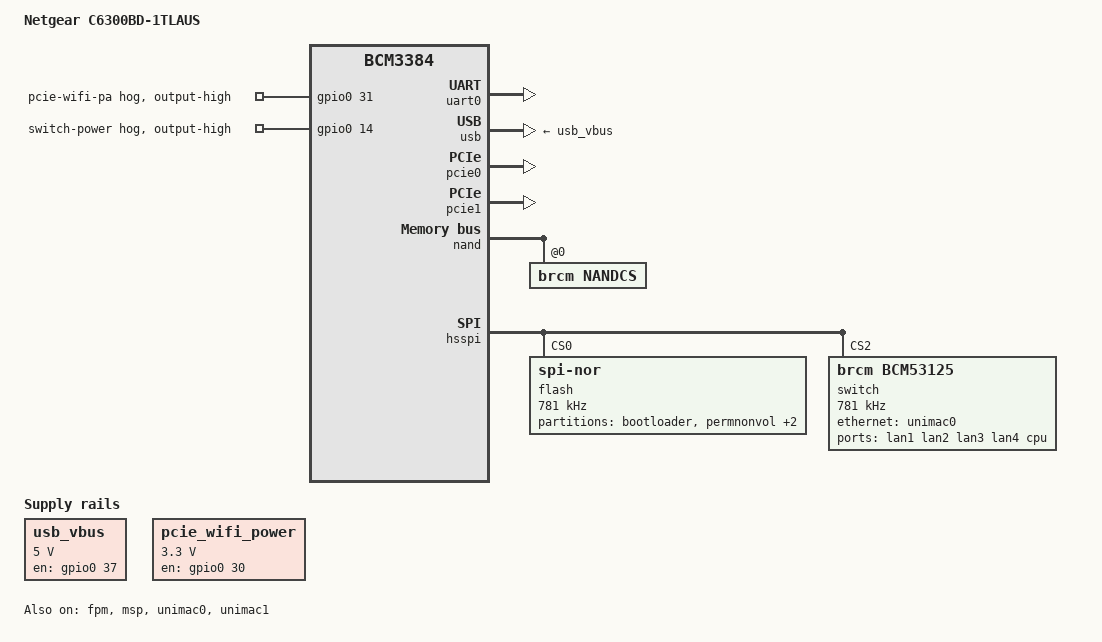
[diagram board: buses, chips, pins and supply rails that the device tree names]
// SPDX-License-Identifier: GPL-2.0-or-later

/dts-v1/;

#include <dt-bindings/gpio/gpio.h>
#include "bcm3384.dtsi"

/ {
	model = "Netgear C6300BD-1TLAUS";
	compatible = "netgear,c6300bd-1tlaus", "brcm,bcm3384";

	usb_vbus: regulator-usb-vbus {
		compatible = "regulator-fixed";
		regulator-name = "usb-vbus";
		regulator-min-microvolt = <5000000>;
		regulator-max-microvolt = <5000000>;
		gpio = <&gpio0 37 GPIO_ACTIVE_HIGH>;
		enable-active-high;
		pinctrl-names = "default";
		pinctrl-0 = <&pinctrl_usb_vbus>;
	};

	pcie_wifi_power: regulator-pcie-wifi-power {
		compatible = "regulator-fixed";
		regulator-name = "pcie-wifi-power";
		regulator-min-microvolt = <3300000>;
		regulator-max-microvolt = <3300000>;
		gpio = <&gpio0 30 GPIO_ACTIVE_HIGH>;
		enable-active-high;
	};
};

&uart0 {
	status = "okay";
};

&usb {
	vbus-supply = <&usb_vbus>;
	status = "okay";
};

&pcie0 {
	vpcie-supply = <&pcie_wifi_power>;
	status = "okay";
};

&pcie1 {
	vpcie-supply = <&pcie_wifi_power>;
	status = "okay";
};

&nand {
	status = "okay";

	nandcs@0 {
		compatible = "brcm,nandcs";
		reg = <0>;
		brcm,nand-ecc-use-strap;
	};
};

&gpio0 {
	pcie_wifi_pa: pcie-wifi-pa-hog {
		gpio-hog;
		gpios = <31 GPIO_ACTIVE_HIGH>;
		output-high;
		line-name = "pcie-wifi-pa";
	};

	switch_power: switch-power-hog {
		gpio-hog;
		gpios = <14 GPIO_ACTIVE_HIGH>;
		output-high;
		line-name = "switch-power";
	};
};

&hsspi {
	pinctrl-names = "default";
	pinctrl-0 = <&pinctrl_hsspi_switch>;
	status = "okay";

	flash@0 {
		compatible = "jedec,spi-nor";
		reg = <0>;
		spi-cpha;
		spi-cpol;
		spi-max-frequency = <781000>;

		partitions {
			compatible = "fixed-partitions";
			#address-cells = <1>;
			#size-cells = <1>;

			partition@0 {
				label = "bootloader";
				reg = <0x00000 0x10000>;
				read-only;
			};

			partition@10000 {
				label = "permnonvol";
				reg = <0x10000 0x20000>;
				read-only;

				nvmem-layout {
					compatible = "brcm,ecos-nonvol-perm";
					brcm,slot-size = <0x4000>;
					brcm,section-offset = <0xca>;

					unimac0_ip_stack5_mac: mac-address-lan {
						/*
						 * section + 0x0a -> CMAp
						 * CMAp + 0xb2 -> HAL IP Stack5 MAC
						 */
						brcm,record-path = <0x0a 0xb2>;
					};

					unimac1_ip_stack3_mac: mac-address-wan {
						/*
						 * section + 0x0a -> CMAp
						 * CMAp + 0x5c -> HAL IP Stack3 MAC
						 */
						brcm,record-path = <0x0a 0x5c>;
					};
				};
			};

			partition@30000 {
				label = "vendor-nonvol";
				reg = <0x30000 0x10000>;
				read-only;
			};

			partition@40000 {
				label = "dynnonvol";
				reg = <0x40000 0x40000>;
				read-only;
			};
		};
	};

	switch@2 {
		compatible = "brcm,bcm53125";
		reg = <2>;
		spi-cpha;
		spi-cpol;
		spi-max-frequency = <781000>;

		ports {
			#address-cells = <1>;
			#size-cells = <0>;

			port@1 {
				reg = <1>;
				label = "lan1";
			};

			port@2 {
				reg = <2>;
				label = "lan2";
			};

			port@3 {
				reg = <3>;
				label = "lan3";
			};

			port@4 {
				reg = <4>;
				label = "lan4";
			};

			port@8 {
				reg = <8>;
				label = "cpu";
				ethernet = <&unimac0>;
				phy-mode = "rgmii-id";

				fixed-link {
					speed = <1000>;
					full-duplex;
					asym-pause;
					pause;
				};
			};
		};
	};
};

&fpm {
	status = "okay";
};

&msp {
	status = "okay";
};

&unimac_mbdma {
	status = "okay";
};

&unimac0 {
	nvmem-cells = <&unimac0_ip_stack5_mac>;
	nvmem-cell-names = "mac-address";
	phy-mode = "rgmii-id";
	status = "okay";

	fixed-link {
		speed = <1000>;
		full-duplex;
		asym-pause;
		pause;
	};
};

&unimac1 {
	nvmem-cells = <&unimac1_ip_stack3_mac>;
	nvmem-cell-names = "mac-address";
	status = "okay";

	fixed-link {
		speed = <1000>;
		full-duplex;
		asym-pause;
		pause;
	};
};
